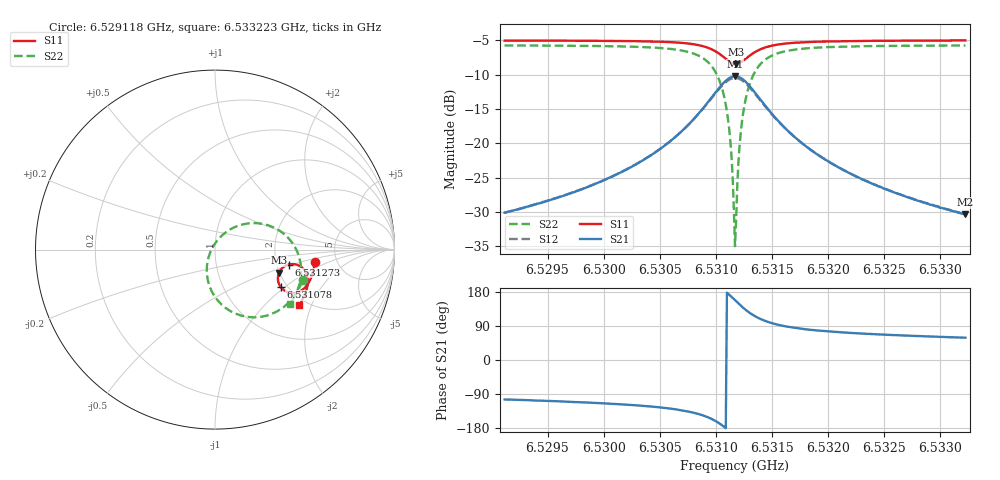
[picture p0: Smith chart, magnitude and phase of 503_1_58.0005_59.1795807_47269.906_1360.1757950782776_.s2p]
#  HZ  S  RI  R  50.00
! Rohde & Schwarz Vector Network Analyzer
! Rohde-Schwarz,ZNB20-2Port,1311601062101988,3.16
! Created: UTC 3/21/2024, 1:12:51 AM
! freq[Hz]  re:S11  im:S11  re:S21  im:S21  re:S12  im:S12  re:S22  im:S22
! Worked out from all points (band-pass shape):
!   401 points, 6.529118 GHz to 6.533223 GHz, reference 50 ohm
!   highest |S21| = -10.21 dB at 6.53117 GHz (marker M1); lowest = -30.3 dB at 6.533223 GHz (marker M2)
!   |S21| within 3 dB of the highest: 6.530966 GHz to 6.531377 GHz (410.6 kHz wide, 0.00629 % of centre)
!   lowest |S11| = -8.4 dB at 6.53118 GHz (marker M3), VSWR 2.22, Z = 99.5 - j30 ohm
!   |S11| at or under -10 dB: nowhere
!   |S22| runs from -35.0 to -5.7 dB; largest |S21 - S12| = 0.012
!   S11 on the Smith chart (normalised r, x): 6.529118 GHz: 3.41, -0.68; 6.531078 GHz: 1.85, -0.93; 6.531273 GHz: 2.32, -0.47; 6.533223 GHz: 1.82, -1.64
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6.5291178e9  0.5567 -0.0679  -0.00773 -0.0303  -0.00811 -0.0302  0.488 -0.1719
6.5298053e9  0.5457 -0.125  -0.0172 -0.0431  -0.0181 -0.0429  0.4567 -0.2359
6.5304929e9  0.5165 -0.1931  -0.0513 -0.0738  -0.0532 -0.0725  0.3747 -0.3259
6.5307289e9  0.4891 -0.2228  -0.0914 -0.093  -0.0941 -0.09  0.2937 -0.3662
6.5309033e9  0.4448 -0.2412  -0.1599 -0.0989  -0.162 -0.0926  0.167 -0.3724
6.531006e9  0.3999 -0.2355  -0.2294 -0.0722  -0.2285 -0.0625  0.0489 -0.3165
6.5310778e9  0.3653 -0.2074  -0.2805 -0.0131  -0.2747 -0.00318  -0.0284 -0.2089
6.5311188e9  0.3526 -0.1792  -0.2964 0.0402  -0.2873 0.0481  -0.046 -0.1177
6.5311599e9  0.3519 -0.1455  -0.2913 0.1011  -0.2805 0.1055  -0.0276 -0.0185
6.5311701e9  0.354 -0.1372  -0.2862 0.116  -0.2752 0.1194  -0.0171 0.00507
6.5311804e9  0.357 -0.129  -0.2797 0.1304  -0.2688 0.1327  -0.00406 0.0277
6.5311907e9  0.3608 -0.1213  -0.2719 0.144  -0.261 0.1454  0.011 0.0486
6.5312112e9  0.3708 -0.1074  -0.2524 0.1681  -0.2423 0.1677  0.0465 0.0853
6.5312215e9  0.3766 -0.1015  -0.2415 0.1785  -0.2319 0.1772  0.0661 0.1005
6.531242e9  0.3895 -0.0919  -0.2178 0.1952  -0.2091 0.193  0.1079 0.1244
6.5312728e9  0.4102 -0.0831  -0.1803 0.2105  -0.1738 0.2073  0.172 0.144
6.5313446e9  0.4536 -0.0836  -0.1044 0.2121  -0.1009 0.2091  0.3001 0.1341
6.5314472e9  0.4912 -0.1065  -0.0392 0.1805  -0.0376 0.1788  0.4066 0.0665
6.5316011e9  0.5125 -0.1431  0.000147 0.1332  0.00128 0.1325  0.4652 -0.0297
6.5318577e9  0.5169 -0.1868  0.0165 0.0868  0.0175 0.0866  0.4799 -0.1277
6.5325452e9  0.4974 -0.2575  0.0182 0.0416  0.019 0.0413  0.4516 -0.2448
6.5332225e9  0.4708 -0.3082  0.0157 0.026  0.0163 0.0258  0.417 -0.3054
